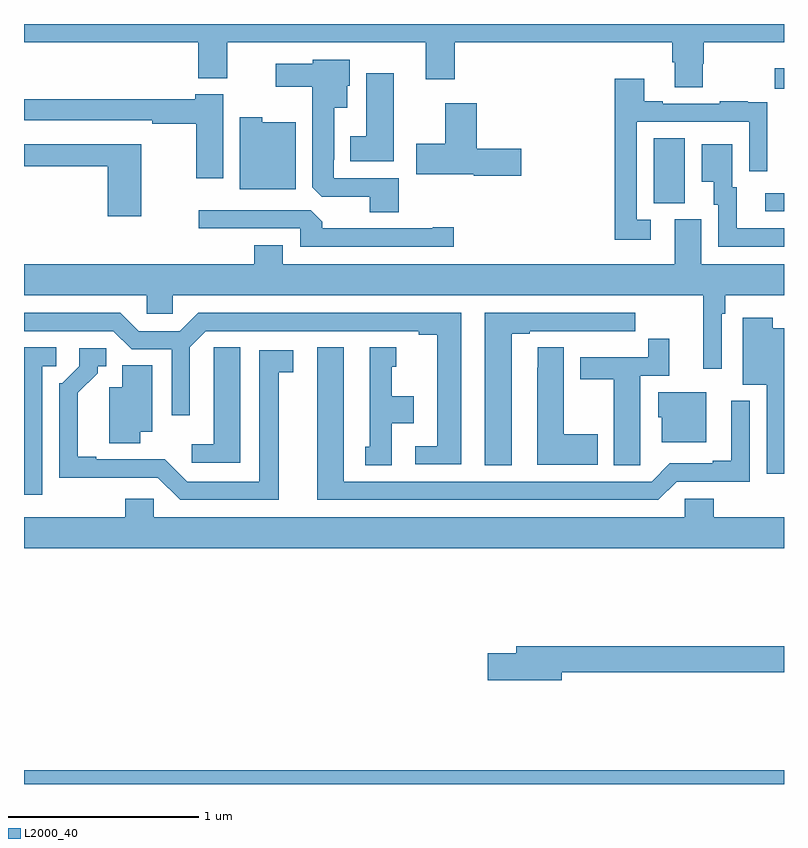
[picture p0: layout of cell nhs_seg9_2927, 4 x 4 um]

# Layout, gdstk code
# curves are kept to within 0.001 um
import gdstk
lib = gdstk.Library(unit=1e-6, precision=1e-09)
def R(c, l, rs):  # rectangles x0, y0, x1, y1
    for r in rs: c.add(gdstk.rectangle(r[:2], r[2:], *l))
def P(c, l, *ps):  # polygons
    for p in ps: c.add(gdstk.Polygon(p, *l))
L2000_40 = (2000, 40)

nhs_seg9_2927 = lib.new_cell('nhs_seg9_2927')
R(nhs_seg9_2927, L2000_40, [(279,1208.5,283,1208.572), (282.9,1211.514,283,1211.61), (282.314,1211.557,282.478,1211.9), (282.951,1212.158,283,1212.268)])
P(nhs_seg9_2927, L2000_40, [(282.573,1212.291),(282.578,1212.291),(282.578,1212.404),(283,1212.404),(283,1212.5),(279,1212.5),(279,1212.404),(279.917,1212.404),(279.917,1212.215),(280.069,1212.215),(280.069,1212.404),(281.114,1212.404),(281.114,1212.21),(281.267,1212.21),(281.267,1212.404),(282.413,1212.404),(282.413,1212.298),(282.425,1212.298),(282.425,1212.166),(282.573,1212.166)],
  [(280.973,1211.688),(280.629,1211.688),(280.629,1211.785),(280.633,1211.785),(280.633,1212.059),(280.702,1212.059),(280.702,1212.174),(280.714,1212.174),(280.714,1212.313),(280.521,1212.313),(280.521,1212.292),(280.326,1212.292),(280.326,1212.17),(280.517,1212.17),(280.517,1211.641),(280.566,1211.592),(280.82,1211.592),(280.82,1211.509),(280.973,1211.509)],
  [(280.945,1212.241),(280.802,1212.241),(280.802,1211.908),(280.718,1211.908),(280.718,1211.777),(280.945,1211.777)],
  [(282.298,1211.469),(282.225,1211.469),(282.225,1211.985),(282.816,1211.985),(282.816,1211.724),(282.912,1211.724),(282.912,1211.978),(282.911,1211.978),(282.911,1212.087),(282.809,1212.087),(282.809,1212.094),(282.661,1212.094),(282.661,1212.081),(282.361,1212.081),(282.361,1212.094),(282.265,1212.094),(282.265,1212.211),(282.109,1212.211),(282.109,1211.364),(282.298,1211.364)],
  [(280.048,1212.13),(279.902,1212.13),(279.902,1212.103),(279,1212.103),(279,1211.994),(279.676,1211.994),(279.676,1211.974),(279.907,1211.974),(279.907,1211.688),(280.048,1211.688)],
  [(281.617,1211.843),(281.384,1211.843),(281.384,1212.082),(281.216,1212.082),(281.216,1211.871),(281.064,1211.871),(281.064,1211.708),(281.367,1211.708),(281.367,1211.701),(281.617,1211.701)],
  [(280.429,1211.983),(280.254,1211.983),(280.254,1212.01),(280.136,1212.01),(280.136,1211.63),(280.429,1211.63)],
  [(279.618,1211.868),(279,1211.868),(279,1211.752),(279.44,1211.752),(279.44,1211.487),(279.618,1211.487)],
  [(283,1211.424),(282.751,1211.424),(282.751,1211.64),(282.727,1211.64),(282.727,1211.866),(282.566,1211.866),(282.566,1211.669),(282.629,1211.669),(282.629,1211.55),(282.654,1211.55),(282.654,1211.328),(283,1211.328)],
  [(281.263,1211.429),(281.15,1211.429),(281.15,1211.424),(280.571,1211.424),(280.571,1211.458),(280.509,1211.52),(279.921,1211.52),(279.921,1211.424),(280.455,1211.424),(280.455,1211.328),(281.263,1211.328)],
  [(282.672,1210.976),(282.692,1210.976),(282.692,1211.072),(283,1211.072),(283,1211.236),(282.565,1211.236),(282.565,1211.472),(282.425,1211.472),(282.425,1211.236),(280.363,1211.236),(280.363,1211.335),(280.211,1211.335),(280.211,1211.236),(279,1211.236),(279,1211.072),(279.645,1211.072),(279.645,1210.974),(279.783,1210.974),(279.783,1211.072),(282.575,1211.072),(282.575,1210.686),(282.672,1210.686)],
  [(281.302,1210.98),(279.917,1210.98),(279.821,1210.884),(279.603,1210.884),(279.507,1210.98),(279,1210.98),(279,1210.884),(279.471,1210.884),(279.567,1210.788),(279.777,1210.788),(279.777,1210.44),(279.873,1210.44),(279.873,1210.8),(279.957,1210.884),(281.078,1210.884),(281.078,1210.864),(281.174,1210.864),(281.174,1210.278),(281.058,1210.278),(281.058,1210.182),(281.302,1210.182)],
  [(281.566,1210.869),(281.662,1210.869),(281.662,1210.884),(281.938,1210.884),(281.938,1210.883),(282.104,1210.883),(282.104,1210.884),(282.217,1210.884),(282.217,1210.98),(281.426,1210.98),(281.426,1210.177),(281.566,1210.177)],
  [(283,1210.9),(282.94,1210.9),(282.94,1210.954),(282.782,1210.954),(282.782,1210.601),(282.909,1210.601),(282.909,1210.134),(283,1210.134)],
  [(282.243,1210.288),(282.244,1210.288),(282.244,1210.65),(282.395,1210.65),(282.395,1210.843),(282.286,1210.843),(282.286,1210.746),(281.927,1210.746),(281.927,1210.63),(282.104,1210.63),(282.104,1210.177),(282.243,1210.177)],
  [(282.019,1210.341),(281.842,1210.341),(281.842,1210.799),(281.703,1210.799),(281.703,1210.691),(281.702,1210.691),(281.702,1210.181),(282.019,1210.181)],
  [(279.096,1210.698),(279.169,1210.698),(279.169,1210.799),(279,1210.799),(279,1210.023),(279.096,1210.023)],
  [(280.138,1210.799),(279.999,1210.799),(279.999,1210.691),(279.998,1210.691),(279.998,1210.288),(279.882,1210.288),(279.882,1210.191),(280.138,1210.191)],
  [(282.435,1210.092),(282.819,1210.092),(282.819,1210.516),(282.722,1210.516),(282.722,1210.201),(282.626,1210.201),(282.626,1210.188),(282.399,1210.188),(282.303,1210.092),(280.684,1210.092),(280.684,1210.798),(280.544,1210.798),(280.544,1209.996),(282.339,1209.996)],
  [(280.936,1210.4),(281.05,1210.4),(281.05,1210.54),(280.936,1210.54),(280.936,1210.695),(280.96,1210.695),(280.96,1210.798),(280.82,1210.798),(280.82,1210.275),(280.796,1210.275),(280.796,1210.177),(280.936,1210.177)],
  [(280.342,1210.666),(280.417,1210.666),(280.417,1210.782),(280.238,1210.782),(280.238,1210.092),(279.858,1210.092),(279.74,1210.21),(279.379,1210.209),(279.379,1210.222),(279.283,1210.222),(279.283,1210.558),(279.388,1210.663),(279.388,1210.698),(279.433,1210.698),(279.433,1210.794),(279.291,1210.794),(279.291,1210.698),(279.201,1210.608),(279.186,1210.608),(279.186,1210.112),(279.705,1210.113),(279.822,1209.996),(280.342,1209.996)],
  [(279.613,1210.355),(279.676,1210.355),(279.676,1210.703),(279.518,1210.703),(279.518,1210.588),(279.449,1210.588),(279.449,1210.294),(279.613,1210.294)],
  [(282.592,1210.561),(282.338,1210.561),(282.338,1210.431),(282.356,1210.431),(282.356,1210.298),(282.592,1210.298)],
  [(283,1209.904),(282.629,1209.904),(282.629,1210.002),(282.477,1210.002),(282.477,1209.904),(279.684,1209.904),(279.684,1210.002),(279.533,1210.002),(279.533,1209.904),(279,1209.904),(279,1209.74),(283,1209.74)],
  [(281.83,1209.088),(283,1209.088),(283,1209.224),(281.591,1209.224),(281.591,1209.188),(281.442,1209.188),(281.442,1209.046),(281.83,1209.046)])

lib.write_gds('nhs_seg9_2927.gds')
